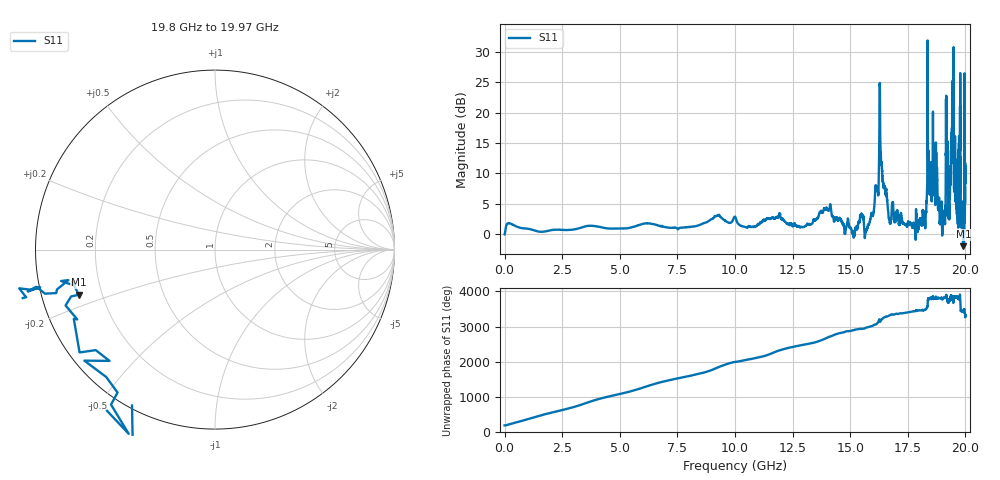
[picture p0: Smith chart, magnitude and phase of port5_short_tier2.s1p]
! Created with skrf 1.8.0 (http://scikit-rf.org).
# GHz S RI R 50.0
!freq ReS11 ImS11
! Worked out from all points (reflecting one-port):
!   10001 points, 1 MHz to 20 GHz, reference 50 ohm
!   lowest |S11| = -1.9 dB at 19.91 GHz (marker M1), VSWR 9.00, Z = 5.7 - j7.98 ohm
!   phase of S11 starts at 180 deg and turns +3124 deg over the sweep
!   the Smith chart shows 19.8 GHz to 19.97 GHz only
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0.001  -0.9999 0.00212
0.9829509  1.107 -0.1216
2.500875  -0.2259 -1.066
3.486826  0.0658 1.158
5.00075  1.115 -0.0822
5.9987  -1.216 0.0651
7.500625  0.1987 1.098
8.336583  -1.132 -0.3068
9.162542  1.397 0.1996
10.0005  -1.381 -0.1913
11.22644  1.282 -0.191
11.66642  -0.1084 1.371
12.50038  -0.2687 -1.155
13.42033  1.214 0.4491
14.0823  -1.571 -0.1702
15.00025  1.118 -0.0989
15.9222  -0.9832 1.119
16.12619  -2.335 -0.0427
16.28819  0.6272 -17.49
16.54817  1.572 1.645
17.50013  -1.198 0.273
18.26209  -0.3803 -1.115
18.46408  -1.886 -1.143
19.11604  -0.958 -0.7395
19.28404  -0.2574 1.355
19.46403  -3.14 -8.003
19.91  -0.7593 -0.2519
20  1.591 3.26
